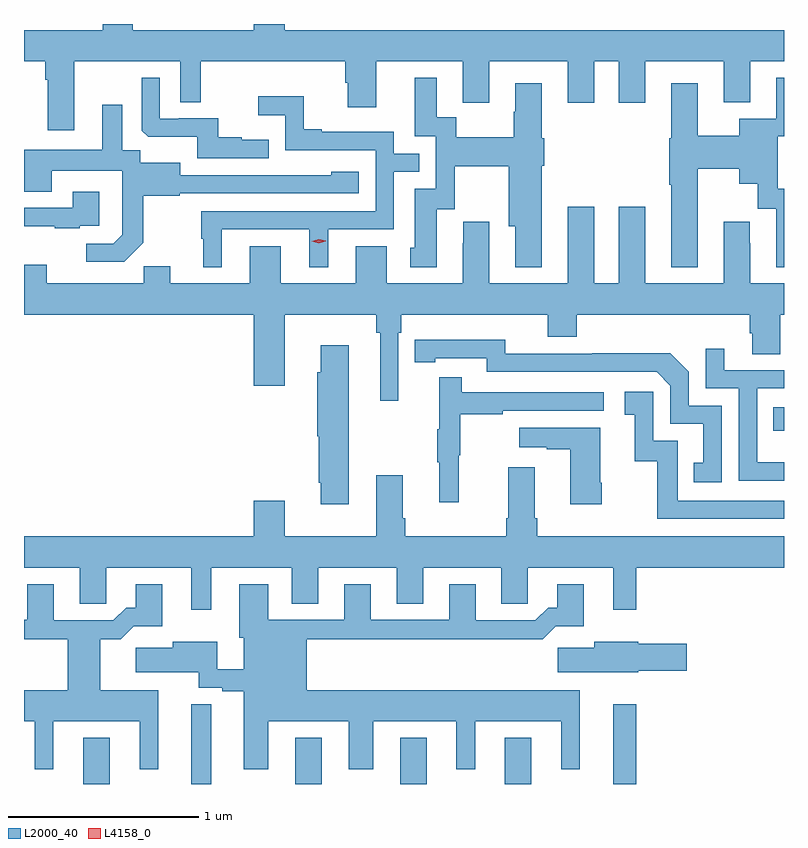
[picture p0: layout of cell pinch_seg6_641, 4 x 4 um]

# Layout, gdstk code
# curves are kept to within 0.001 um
import gdstk
lib = gdstk.Library(unit=1e-6, precision=1e-09)
def R(c, l, rs):  # rectangles x0, y0, x1, y1
    for r in rs: c.add(gdstk.rectangle(r[:2], r[2:], *l))
def A(c, l, x, y, w, h, nx, ny, dx, dy):  # array of equal rectangles
    R(c, l, [(x+i*dx, y+j*dy, x+i*dx+w, y+j*dy+h) for i in range(nx) for j in range(ny)])
def P(c, l, *ps):  # polygons
    for p in ps: c.add(gdstk.Polygon(p, *l))
L2000_40 = (2000, 40)
L4158_0 = (4158, 0)

pinch_seg6_641 = lib.new_cell('pinch_seg6_641')
A(pinch_seg6_641, L2000_40, 416.975, 930.213, 0.14, 0.244, 3, 1, 0.552, 0)
R(pinch_seg6_641, L2000_40, [(415.859,930.213,415.999,930.457), (416.429,930.213,416.533,930.634), (418.649,930.213,418.771,930.634), (419.491,932.073,419.548,932.196)])
P(pinch_seg6_641, L2000_40, [(415.813,934.016),(416.37,934.016),(416.37,933.802),(416.479,933.802),(416.479,934.016),(417.239,934.016),(417.239,933.903),(417.251,933.903),(417.251,933.774),(417.403,933.774),(417.403,934.016),(417.857,934.016),(417.857,933.798),(417.997,933.798),(417.997,934.016),(418.409,934.016),(418.409,933.798),(418.549,933.798),(418.549,934.016),(418.679,934.016),(418.679,933.798),(418.819,933.798),(418.819,934.016),(419.231,934.016),(419.231,933.8),(419.371,933.8),(419.371,934.016),(419.548,934.016),(419.548,934.18),(416.92,934.18),(416.92,934.213),(416.756,934.213),(416.756,934.18),(416.12,934.18),(416.12,934.213),(415.963,934.213),(415.963,934.18),(415.548,934.18),(415.548,934.016),(415.661,934.016),(415.661,933.92),(415.673,933.92),(415.673,933.654),(415.813,933.654)],
  [(416.837,933.604),(416.693,933.604),(416.693,933.616),(416.57,933.616),(416.57,933.717),(416.362,933.717),(416.362,933.714),(416.262,933.714),(416.262,933.931),(416.169,933.931),(416.169,933.651),(416.201,933.62),(416.46,933.62),(416.46,933.507),(416.837,933.507)],
  [(419.095,933.452),(419.312,933.452),(419.312,933.371),(419.411,933.371),(419.411,933.24),(419.507,933.24),(419.507,932.934),(419.548,932.934),(419.548,933.345),(419.514,933.345),(419.514,933.621),(419.548,933.621),(419.548,933.931),(419.507,933.931),(419.507,933.715),(419.312,933.715),(419.312,933.624),(419.095,933.624),(419.095,933.901),(418.955,933.901),(418.955,933.612),(418.943,933.612),(418.943,933.368),(418.955,933.368),(418.955,932.933),(419.095,932.933)],
  [(418.273,933.468),(418.286,933.468),(418.286,933.612),(418.273,933.612),(418.273,933.901),(418.133,933.901),(418.133,933.75),(418.126,933.75),(418.126,933.616),(417.823,933.616),(417.823,933.722),(417.721,933.722),(417.721,933.931),(417.605,933.931),(417.605,933.621),(417.714,933.621),(417.714,933.345),(417.605,933.345),(417.605,933.036),(417.581,933.036),(417.581,932.934),(417.721,932.934),(417.721,933.239),(417.814,933.239),(417.814,933.464),(418.1,933.464),(418.1,933.149),(418.133,933.149),(418.133,932.933),(418.273,932.933)],
  [(416.59,933.132),(417.05,933.132),(417.05,932.933),(417.148,932.933),(417.148,933.132),(417.495,933.132),(417.495,933.435),(417.629,933.435),(417.629,933.531),(417.495,933.531),(417.495,933.645),(417.115,933.645),(417.115,933.658),(417.021,933.658),(417.021,933.833),(416.781,933.833),(416.781,933.734),(416.922,933.734),(416.922,933.549),(417.399,933.549),(417.399,933.228),(416.481,933.228),(416.481,933.084),(416.492,933.084),(416.492,932.933),(416.59,932.933)],
  [(416.175,933.063),(416.175,933.309),(416.367,933.309),(416.367,933.321),(417.31,933.321),(417.31,933.436),(417.165,933.436),(417.165,933.418),(416.371,933.417),(416.371,933.484),(416.16,933.484),(416.16,933.548),(416.065,933.548),(416.065,933.787),(415.961,933.787),(415.961,933.55),(415.548,933.55),(415.548,933.331),(415.693,933.331),(415.693,933.44),(416.064,933.44),(416.064,933.199),(416.066,933.199),(416.066,933.104),(416.019,933.057),(415.875,933.057),(415.875,932.963),(416.075,932.963)],
  [(415.841,933.15),(415.945,933.15),(415.945,933.331),(415.805,933.331),(415.805,933.246),(415.548,933.246),(415.548,933.149),(415.709,933.149),(415.709,933.138),(415.841,933.138)],
  [(418.304,932.567),(418.457,932.567),(418.457,932.684),(419.369,932.684),(419.369,932.586),(419.381,932.586),(419.381,932.476),(419.529,932.476),(419.529,932.684),(419.548,932.684),(419.548,932.848),(419.371,932.848),(419.371,933.059),(419.368,933.059),(419.368,933.172),(419.231,933.172),(419.231,932.848),(418.819,932.848),(418.819,933.25),(418.679,933.25),(418.679,932.848),(418.549,932.848),(418.549,933.25),(418.409,933.25),(418.409,932.848),(417.997,932.848),(417.997,933.172),(417.859,933.172),(417.859,933.059),(417.857,933.059),(417.857,932.848),(417.457,932.848),(417.457,933.043),(417.293,933.043),(417.293,932.848),(416.899,932.848),(416.899,933.043),(416.735,933.043),(416.735,932.848),(416.317,932.848),(416.317,932.939),(416.179,932.939),(416.179,932.848),(415.669,932.848),(415.669,932.947),(415.548,932.947),(415.548,932.684),(416.756,932.684),(416.756,932.31),(416.92,932.31),(416.92,932.684),(417.403,932.684),(417.403,932.588),(417.422,932.588),(417.422,932.229),(417.519,932.229),(417.519,932.588),(417.533,932.588),(417.533,932.684),(418.304,932.684)],
  [(419.22,932.205),(419.046,932.205),(419.046,932.382),(418.948,932.48),(418.54,932.48),(418.54,932.478),(418.08,932.478),(418.08,932.551),(417.604,932.55),(417.604,932.434),(417.712,932.434),(417.712,932.454),(417.984,932.454),(417.984,932.382),(418.878,932.382),(418.95,932.31),(418.95,932.109),(419.123,932.109),(419.123,931.905),(419.074,931.905),(419.074,931.8),(419.22,931.8)],
  [(417.256,932.521),(417.11,932.521),(417.11,932.379),(417.092,932.379),(417.092,932.043),(417.098,932.043),(417.098,931.798),(417.11,931.798),(417.11,931.686),(417.256,931.686)],
  [(419.548,931.906),(419.406,931.906),(419.406,932.295),(419.548,932.295),(419.548,932.391),(419.233,932.391),(419.233,932.503),(419.136,932.503),(419.136,932.295),(419.31,932.295),(419.31,931.809),(419.548,931.809)],
  [(417.836,931.944),(417.844,931.944),(417.844,932.158),(418.067,932.158),(418.067,932.178),(418.6,932.178),(418.6,932.274),(417.851,932.274),(417.851,932.353),(417.734,932.353),(417.734,932.081),(417.723,932.081),(417.723,931.907),(417.734,931.907),(417.734,931.695),(417.836,931.695)],
  [(419.548,931.704),(418.989,931.704),(418.989,932.019),(418.86,932.019),(418.86,932.278),(418.71,932.278),(418.71,932.157),(418.763,932.157),(418.763,931.911),(418.881,931.911),(418.881,931.608),(419.548,931.608)],
  [(418.59,931.798),(418.582,931.798),(418.582,932.089),(418.155,932.089),(418.155,931.985),(418.298,931.985),(418.298,931.975),(418.424,931.975),(418.424,931.686),(418.59,931.686)],
  [(416.533,931.352),(416.957,931.352),(416.957,931.162),(417.097,931.162),(417.097,931.352),(417.509,931.352),(417.509,931.162),(417.649,931.162),(417.649,931.352),(418.061,931.352),(418.061,931.162),(418.2,931.162),(418.2,931.352),(418.649,931.352),(418.649,931.131),(418.771,931.131),(418.771,931.352),(419.548,931.352),(419.548,931.516),(418.25,931.516),(418.25,931.612),(418.237,931.612),(418.237,931.879),(418.097,931.879),(418.097,931.612),(418.085,931.612),(418.085,931.516),(417.554,931.516),(417.554,931.612),(417.541,931.612),(417.541,931.837),(417.401,931.837),(417.401,931.516),(416.92,931.516),(416.92,931.705),(416.756,931.705),(416.756,931.516),(415.548,931.516),(415.548,931.352),(415.841,931.352),(415.841,931.162),(415.98,931.162),(415.98,931.352),(416.429,931.352),(416.429,931.131),(416.533,931.131)],
  [(416.833,930.542),(417.257,930.542),(417.257,930.291),(417.385,930.291),(417.385,930.542),(417.824,930.542),(417.824,930.291),(417.922,930.291),(417.922,930.542),(418.376,930.542),(418.376,930.291),(418.474,930.291),(418.474,930.706),(417.037,930.706),(417.037,930.976),(418.021,930.976),(418.021,930.974),(418.277,930.974),(418.346,931.043),(418.495,931.043),(418.495,931.264),(418.355,931.264),(418.355,931.141),(418.306,931.141),(418.239,931.074),(417.925,931.074),(417.925,931.264),(417.785,931.264),(417.785,931.077),(417.373,931.077),(417.373,931.264),(417.233,931.264),(417.233,931.077),(416.833,931.077),(416.833,931.264),(416.681,931.264),(416.681,930.984),(416.705,930.984),(416.705,930.817),(416.566,930.817),(416.566,930.961),(416.33,930.961),(416.33,930.929),(416.136,930.929),(416.136,930.8),(416.468,930.8),(416.468,930.72),(416.591,930.72),(416.591,930.7),(416.705,930.7),(416.705,930.291),(416.833,930.291)],
  [(415.702,930.542),(416.156,930.542),(416.156,930.291),(416.254,930.291),(416.254,930.706),(415.948,930.706),(415.948,930.974),(416.057,930.974),(416.126,931.043),(416.275,931.043),(416.275,931.264),(416.135,931.264),(416.135,931.141),(416.086,931.141),(416.019,931.074),(415.705,931.074),(415.705,931.264),(415.565,931.264),(415.565,931.077),(415.548,931.077),(415.548,930.976),(415.778,930.976),(415.778,930.706),(415.548,930.706),(415.548,930.542),(415.604,930.542),(415.604,930.291),(415.702,930.291)],
  [(418.782,930.809),(419.035,930.809),(419.035,930.951),(418.782,930.951),(418.782,930.961),(418.55,930.961),(418.55,930.929),(418.356,930.929),(418.356,930.8),(418.782,930.8)])
P(pinch_seg6_641, L4158_0, [(417.099,933.06),(417.063,933.069),(417.063,933.069),(417.063,933.069),(417.099,933.08),(417.135,933.071),(417.135,933.071),(417.135,933.07)])

lib.write_gds('pinch_seg6_641.gds')
